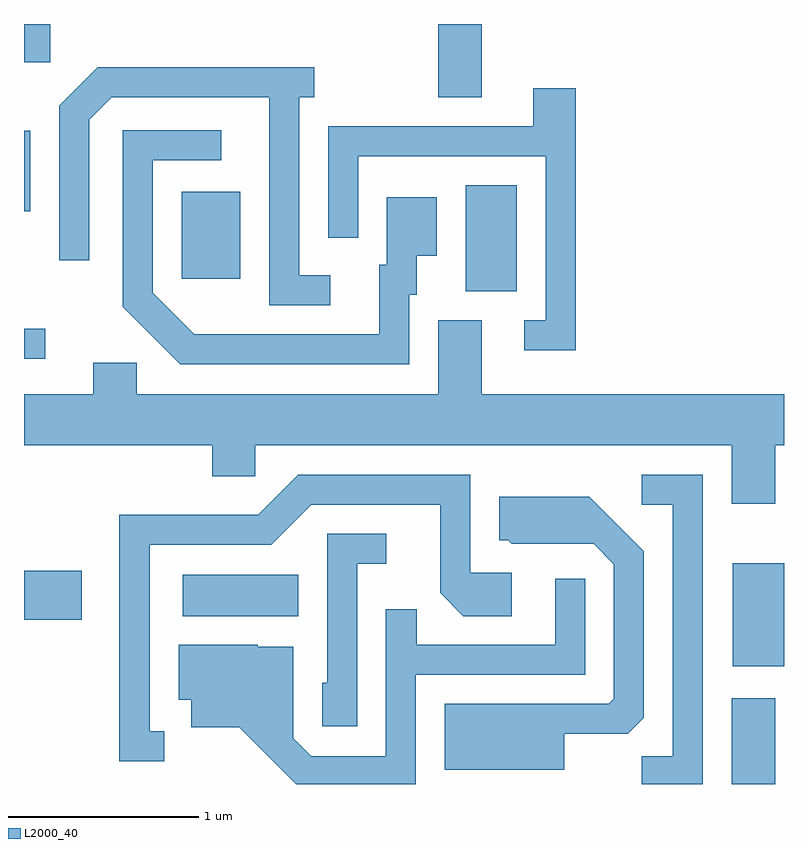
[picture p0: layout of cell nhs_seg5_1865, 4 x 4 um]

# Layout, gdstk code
import gdstk
lib = gdstk.Library(unit=1e-6, precision=1e-09)
def R(c, l, rs):  # rectangles x0, y0, x1, y1
    for r in rs: c.add(gdstk.rectangle(r[:2], r[2:], *l))
def P(c, l, *ps):  # polygons
    for p in ps: c.add(gdstk.Polygon(p, *l))
L2000_40 = (2000, 40)

nhs_seg5_1865 = lib.new_cell('nhs_seg5_1865')
R(nhs_seg5_1865, L2000_40, [(243.336,1506.072,243.564,1506.524), (243.341,1506.691,243.611,1507.234), (239.611,1506.936,239.914,1507.194), (240.446,1506.956,241.054,1507.174), (239.611,1508.311,239.723,1508.469), (241.936,1508.666,242.204,1509.224), (240.441,1508.731,240.749,1509.189), (239.611,1509.086,239.644,1509.509), (241.791,1509.686,242.019,1510.072), (239.611,1509.871,239.749,1510.072)])
P(nhs_seg5_1865, L2000_40, [(241.223,1508.749),(241.059,1508.749),(241.059,1509.686),(241.138,1509.686),(241.138,1509.844),(239.999,1509.844),(239.796,1509.642),(239.796,1508.828),(239.954,1508.828),(239.954,1509.569),(240.072,1509.686),(240.901,1509.686),(240.901,1508.591),(241.223,1508.591)],
  [(242.514,1509.734),(242.291,1509.734),(242.291,1509.534),(241.211,1509.534),(241.211,1508.948),(241.369,1508.948),(241.369,1509.376),(242.356,1509.376),(242.356,1508.514),(242.243,1508.514),(242.243,1508.356),(242.514,1508.356)],
  [(241.639,1508.646),(241.679,1508.646),(241.679,1508.851),(241.784,1508.851),(241.784,1509.159),(241.521,1509.159),(241.521,1508.804),(241.481,1508.804),(241.481,1508.439),(240.507,1508.439),(240.289,1508.657),(240.289,1509.356),(240.648,1509.356),(240.648,1509.514),(240.131,1509.514),(240.131,1508.584),(240.434,1508.281),(241.639,1508.281)],
  [(243.564,1507.856),(243.611,1507.856),(243.611,1508.124),(242.019,1508.124),(242.019,1508.514),(241.791,1508.514),(241.791,1508.124),(240.204,1508.124),(240.204,1508.289),(239.976,1508.289),(239.976,1508.124),(239.611,1508.124),(239.611,1507.856),(240.601,1507.856),(240.601,1507.691),(240.829,1507.691),(240.829,1507.856),(243.336,1507.856),(243.336,1507.546),(243.564,1507.546)],
  [(243.184,1507.699),(242.863,1507.699),(242.863,1507.541),(243.026,1507.541),(243.026,1506.219),(242.863,1506.219),(242.863,1506.072),(243.184,1506.072)],
  [(240.348,1506.349),(240.274,1506.349),(240.274,1507.331),(240.912,1507.331),(241.122,1507.541),(241.801,1507.541),(241.801,1507.079),(241.924,1506.956),(242.179,1506.956),(242.179,1507.184),(241.959,1507.184),(241.959,1507.699),(241.054,1507.699),(240.844,1507.489),(240.111,1507.489),(240.111,1506.191),(240.348,1506.191)],
  [(242.454,1506.336),(242.789,1506.336),(242.874,1506.422),(242.874,1507.297),(242.587,1507.584),(242.111,1507.584),(242.111,1507.356),(242.159,1507.356),(242.179,1507.336),(242.609,1507.336),(242.716,1507.229),(242.716,1506.522),(242.689,1506.494),(241.826,1506.494),(241.826,1506.146),(242.454,1506.146)],
  [(241.364,1507.231),(241.518,1507.231),(241.518,1507.389),(241.206,1507.389),(241.206,1506.604),(241.181,1506.604),(241.181,1506.376),(241.364,1506.376)],
  [(241.674,1506.646),(242.564,1506.646),(242.564,1507.153),(242.406,1507.153),(242.406,1506.804),(241.679,1506.804),(241.679,1506.993),(241.516,1506.993),(241.516,1506.219),(241.122,1506.219),(241.029,1506.312),(241.029,1506.794),(240.84,1506.794),(240.84,1506.804),(240.426,1506.804),(240.426,1506.516),(240.491,1506.516),(240.491,1506.371),(240.744,1506.371),(241.043,1506.072),(241.674,1506.072)])

lib.write_gds('nhs_seg5_1865.gds')
